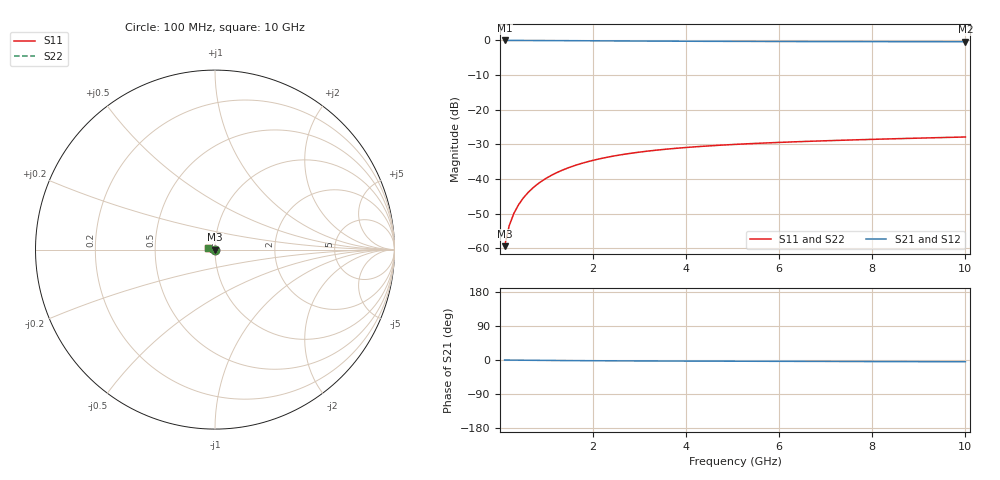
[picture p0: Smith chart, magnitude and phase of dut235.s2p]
! Touchstone file exported from HFSS 2024.1.0
!  File:  C:/UserFiles/LocalFiles/RDL_TSV_Batchsim/temp_TSV1_235_1778767624.aedt
!  Generated:  10:12:42 PM May 14, 2026
!  Design:  TSV1
!  Project:  temp_TSV1_235_1778767624
!  Setup:  Setup1
!  Solution:  Sweep
! Variables:
!  dtsv = 10.32um
!  hbump = 3um
!  htsv = 70.44um
!  lrdl = 252.1521522um
!  p = 40
!  p1 = 56.08um
!  t = 500um
!  trdl = 3um
!  wrdl = 24.89489489um
# GHz S MA R 50.000000
! Terminal data exported
! Port[1] = TSV22_T1
! Port[2] = TSV22_T2
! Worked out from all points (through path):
!   100 points, 100 MHz to 10 GHz, reference 50 ohm
!   highest |S21| = 0.00 dB at 100 MHz (marker M1); lowest = -0.4 dB at 10 GHz (marker M2)
!   lowest |S11| = -59.4 dB at 100 MHz (marker M3), VSWR 1.00, Z = 50 - j0.107 ohm
!   |S11| at or under -10 dB: start of sweep to end of sweep
!   |S22| runs from -59.4 to -27.9 dB; largest |S21 - S12| = 1.4e-14
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0.1  0.001069 -85.3  0.9998 -0.1  0.9998 -0.1  0.001069 -85.3
! Gamma 0 0 0 0
! Port Impedance 50 0 50 0
0.2  0.002128 -90.5  0.9997 -0.2  0.9997 -0.2  0.002128 -90.5
0.3  0.003188 -93.6  0.9995 -0.3  0.9995 -0.3  0.003188 -93.6
0.4  0.004243 -96.1  0.9992 -0.5  0.9992 -0.5  0.004243 -96.1
0.5  0.00529 -98.5  0.9989 -0.6  0.9989 -0.6  0.00529 -98.5
0.6  0.006324 -100.7  0.9985 -0.7  0.9985 -0.7  0.006324 -100.7
0.7  0.007343 -102.9  0.998 -0.8  0.998 -0.8  0.007343 -102.9
0.8  0.008345 -105.0  0.9975 -0.9  0.9975 -0.9  0.008345 -105.0
0.9  0.009328 -107.0  0.9969 -1.0  0.9969 -1.0  0.009328 -107.0
1.1  0.01123 -111.0  0.9956 -1.2  0.9956 -1.2  0.01123 -111.0
1.4  0.0139 -116.6  0.9934 -1.4  0.9934 -1.4  0.0139 -116.6
1.6  0.01556 -120.2  0.9918 -1.6  0.9918 -1.6  0.01556 -120.2
1.8  0.01711 -123.6  0.9902 -1.8  0.9902 -1.8  0.01711 -123.6
2.1  0.01924 -128.4  0.9877 -2.0  0.9877 -2.0  0.01924 -128.4
2.5  0.02175 -134.4  0.9844 -2.2  0.9844 -2.2  0.02175 -134.4
2.9  0.02391 -139.9  0.9813 -2.4  0.9813 -2.4  0.02391 -139.9
3.4  0.02619 -146.0  0.9778 -2.6  0.9778 -2.6  0.02619 -146.0
4.2  0.02911 -154.6  0.9732 -2.9  0.9732 -2.9  0.02911 -154.6
5.1  0.03165 -162.8  0.9691 -3.2  0.9691 -3.2  0.03165 -162.8
6.7  0.03505 -174.6  0.964 -3.7  0.964 -3.7  0.03505 -174.6
8.4  0.03792 175.3  0.9605 -4.2  0.9605 -4.2  0.03792 175.3
10  0.04035 167.4  0.9583 -4.7  0.9583 -4.7  0.04035 167.4
